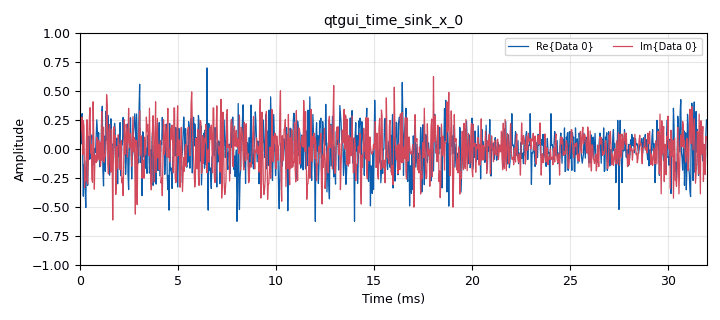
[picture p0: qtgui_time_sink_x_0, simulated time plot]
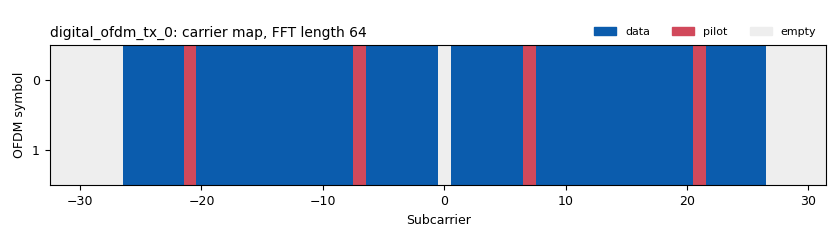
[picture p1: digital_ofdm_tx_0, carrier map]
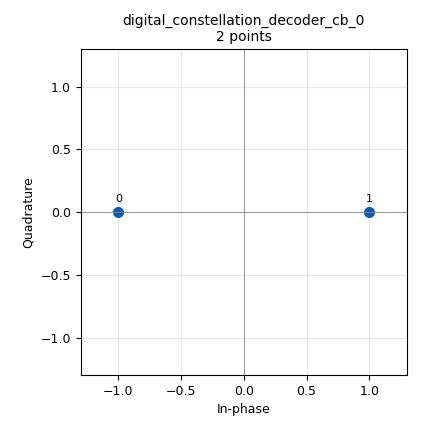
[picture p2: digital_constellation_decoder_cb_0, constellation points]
options:
  parameters:
    description: 'USRP OFDM sync TX/RX (RX chain aligned with rx_ofdm.grc). RF loopback via USRP ch0 TX / ch2 RX. QtGUI: tx/rx gain, spectrum, constellation.'
    generate_options: qt_gui
    id: base_ofdm
    output_language: python
    title: Base OFDM Sync TX/RX
  states: {}

blocks:
- name: RX_gain
  id: variable_qtgui_range
  parameters:
    gui_hint: 0,1,1,1
    label: rx_gain
    start: '0'
    step: '1'
    stop: '50'
    value: '10'
  states: {}
- name: TX_gain
  id: variable_qtgui_range
  parameters:
    gui_hint: 0,0,1,1
    label: tx_gain
    start: '0'
    step: '1'
    stop: '50'
    value: '10'
  states: {}
- name: cp_len
  id: variable
  parameters:
    comment: Cyclic prefix length (samples)
    value: fft_len//4
  states: {}
- name: factor
  id: variable_qtgui_range
  parameters:
    start: '0'
    step: '0.01'
    stop: '1'
    value: '0.02'
  states: {}
- name: fft_len
  id: variable
  parameters:
    value: '64'
  states: {}
- name: header_equalizer
  id: variable
  parameters:
    value: digital.ofdm_equalizer_simpledfe(fft_len, header_mod.base(), occupied_carriers, pilot_carriers, pilot_symbols)
  states: {}
- name: header_formatter
  id: variable
  parameters:
    value: digital.packet_header_ofdm(occupied_carriers, n_syms=1, len_tag_key=packet_length_tag_key, frame_len_tag_key=length_tag_key, bits_per_header_sym=header_mod.bits_per_symbol(), bits_per_payload_sym=payload_mod.bits_per_symbol(), scramble_header=False)
  states: {}
- name: header_len
  id: variable
  parameters:
    comment: 2 sync + 1 comm header OFDM symbols
    value: '3'
  states: {}
- name: header_mod
  id: variable
  parameters:
    value: digital.constellation_bpsk()
  states: {}
- name: length_tag_key
  id: variable
  parameters:
    value: '"frame_len"'
  states: {}
- name: occupied_carriers
  id: variable
  parameters:
    value: (list(range(-26, -21)) + list(range(-20, -7)) + list(range(-6, 0)) + list(range(1, 7)) + list(range(8, 21)) + list(range(22, 27)),)
  states: {}
- name: packet_len
  id: variable
  parameters:
    value: '96'
  states: {}
- name: packet_length_tag_key
  id: variable
  parameters:
    value: '"packet_len"'
  states: {}
- name: payload_equalizer
  id: variable
  parameters:
    value: digital.ofdm_equalizer_simpledfe(fft_len, payload_mod.base(), occupied_carriers, pilot_carriers, pilot_symbols, 1)
  states: {}
- name: payload_mod
  id: variable
  parameters:
    value: digital.constellation_qpsk()
  states: {}
- name: pilot_carriers
  id: variable
  parameters:
    value: ((-21, -7, 7, 21,),)
  states: {}
- name: pilot_symbols
  id: variable
  parameters:
    value: ((1, 1, 1, -1,),)
  states: {}
- name: rx_sync_min_buf
  id: variable
  parameters:
    comment: USRP high-rate RX sync chain buffer (rx_ofdm uses throttle, not needed there)
    value: max(65536, int((header_len + 8) * (fft_len + cp_len)))
  states: {}
- name: samp_rate
  id: variable
  parameters:
    comment: X410 MCR/1020 (~240941 Hz); must match USRP actual rate
    value: 32e3
  states: {}
- name: sync_word1
  id: variable
  parameters:
    value: '[0., 0., 0., 0., 0., 0., 0., 1.41421356, 0., -1.41421356, 0., 1.41421356, 0., -1.41421356, 0., -1.41421356, 0., -1.41421356, 0., 1.41421356, 0., -1.41421356, 0., 1.41421356, 0., -1.41421356, 0., -1.41421356, 0., -1.41421356, 0., -1.41421356, 0., 1.41421356, 0., -1.41421356, 0., 1.41421356, 0., 1.41421356, 0., 1.41421356, 0., -1.41421356, 0., 1.41421356, 0., 1.41421356, 0., 1.41421356, 0., -1.41421356, 0., 1.41421356, 0., 1.41421356, 0., 1.41421356, 0., 0., 0., 0., 0., 0.]'
  states: {}
- name: sync_word2
  id: variable
  parameters:
    value: '[0j, 0j, 0j, 0j, 0j, 0j, (-1+0j), (-1+0j), (-1+0j), (-1+0j), (1+0j), (1+0j), (-1+0j), (-1+0j), (-1+0j), (1+0j), (-1+0j), (1+0j), (1+0j), (1 +0j), (1+0j), (1+0j), (-1+0j), (-1+0j), (-1+0j), (-1+0j), (-1+0j), (1+0j), (-1+0j), (-1+0j), (1+0j), (-1+0j), 0j, (1+0j), (-1+0j), (1+0j), (1+0j), (1+0j), (-1+0j), (1+0j), (1+0j), (1+0j), (-1+0j), (1+0j), (1+0j), (1+0j), (1+0j), (-1+0j), (1+0j), (-1+0j), (-1+0j), (-1+0j), (1+0j), (-1+0j), (1+0j), (-1+0j), (-1+0j), (-1+0j), (-1+0j), 0j, 0j, 0j, 0j, 0j]'
  states: {}
- name: address
  id: parameter
  parameters:
    label: UHD dev args
    type: str
    value: '"type=x4xx,mgmt_addr=192.168.1.100,addr=192.168.10.2"'
  states: {}
- name: analog_frequency_modulator_fc_0
  id: analog_frequency_modulator_fc
  parameters:
    minoutbuf: rx_sync_min_buf
    sensitivity: '-2.0/fft_len'
  states: {}
- name: analog_random_source_x_0
  id: analog_random_source_x
  parameters:
    max: '255'
    min: '0'
    num_samps: '1000'
    repeat: 'True'
    type: byte
  states: {}
- name: blocks_delay_0
  id: blocks_delay
  parameters:
    delay: fft_len+fft_len//4
    minoutbuf: rx_sync_min_buf
    type: complex
  states: {}
- name: blocks_multiply_const_vxx_0
  id: blocks_multiply_const_vxx
  parameters:
    const: factor
    type: complex
  states: {}
- name: blocks_multiply_xx_0
  id: blocks_multiply_xx
  parameters:
    minoutbuf: rx_sync_min_buf
    type: complex
  states: {}
- name: blocks_null_sink_0
  id: blocks_null_sink
  parameters:
    type: complex
  states: {}
- name: blocks_repack_bits_bb_0
  id: blocks_repack_bits_bb
  parameters:
    align_output: 'True'
    endianness: gr.GR_LSB_FIRST
    k: payload_mod.bits_per_symbol()
    l: '8'
    len_tag_key: packet_length_tag_key
  states: {state: disabled}
- name: blocks_stream_to_tagged_stream_0
  id: blocks_stream_to_tagged_stream
  parameters:
    len_tag_key: packet_length_tag_key
    packet_len: packet_len
    type: byte
  states: {}
- name: blocks_tag_debug_1
  id: blocks_tag_debug
  parameters:
    name: Rx Bytes
    type: byte
  states: {state: disabled}
- name: digital_constellation_decoder_cb_0
  id: digital_constellation_decoder_cb
  parameters:
    constellation: header_mod.base()
  states: {}
- name: digital_constellation_decoder_cb_1
  id: digital_constellation_decoder_cb
  parameters:
    constellation: payload_mod.base()
  states: {state: disabled}
- name: digital_crc32_bb_0
  id: digital_crc32_bb
  parameters:
    check: 'True'
    lengthtagname: packet_length_tag_key
    packed: 'True'
  states: {state: disabled}
- name: digital_header_payload_demux_0
  id: digital_header_payload_demux
  parameters:
    guard_interval: fft_len//4
    header_len: header_len
    header_padding: '0'
    items_per_symbol: fft_len
    length_tag_key: length_tag_key
    minoutbuf: rx_sync_min_buf
    output_symbols: 'True'
    samp_rate: samp_rate
    special_tags: ()
    timing_tag_key: '"rx_time"'
    type: complex
  states: {}
- name: digital_ofdm_chanest_vcvc_0
  id: digital_ofdm_chanest_vcvc
  parameters:
    force_one_symbol: 'False'
    max_carr_offset: '3'
    n_data_symbols: '1'
    sync_symbol1: sync_word1
    sync_symbol2: sync_word2
  states: {}
- name: digital_ofdm_frame_equalizer_vcvc_0
  id: digital_ofdm_frame_equalizer_vcvc
  parameters:
    cp_len: cp_len
    equalizer: header_equalizer.base()
    fft_len: fft_len
    fixed_frame_len: '1'
    len_tag_key: length_tag_key
    propagate_channel_state: 'True'
  states: {}
- name: digital_ofdm_frame_equalizer_vcvc_1
  id: digital_ofdm_frame_equalizer_vcvc
  parameters:
    cp_len: fft_len//4
    equalizer: payload_equalizer.base()
    fft_len: fft_len
    len_tag_key: length_tag_key
    propagate_channel_state: 'True'
  states: {}
- name: digital_ofdm_serializer_vcc_header
  id: digital_ofdm_serializer_vcc
  parameters:
    carr_offset_key: ''
    comment: skip 2 sync OFDM syms; only comm header to parser
    fft_len: fft_len
    len_tag_key: length_tag_key
    occupied_carriers: occupied_carriers
    packet_len_tag_key: ''
  states: {}
- name: digital_ofdm_serializer_vcc_payload
  id: digital_ofdm_serializer_vcc
  parameters:
    carr_offset_key: ''
    fft_len: fft_len
    len_tag_key: length_tag_key
    occupied_carriers: occupied_carriers
    packet_len_tag_key: packet_length_tag_key
    symbols_skipped: '1'
  states: {}
- name: digital_ofdm_sync_sc_cfb_0
  id: digital_ofdm_sync_sc_cfb
  parameters:
    cp_len: fft_len//4
    fft_len: fft_len
    minoutbuf: rx_sync_min_buf
    threshold: '0.9'
  states: {}
- name: digital_ofdm_tx_0
  id: digital_ofdm_tx
  parameters:
    cp_len: cp_len
    fft_len: fft_len
    header_mod: '"BPSK"'
    log: 'True'
    occupied_carriers: occupied_carriers
    packet_len_key: packet_length_tag_key
    payload_mod: '"QPSK"'
    pilot_carriers: pilot_carriers
    pilot_symbols: pilot_symbols
    rolloff: '0'
    sync_word1: sync_word1
    sync_word2: sync_word2
  states: {}
- name: digital_packet_headerparser_b_0
  id: digital_packet_headerparser_b
  parameters:
    header_formatter: header_formatter.base()
  states: {}
- name: fft_vxx_0
  id: fft_vxx
  parameters:
    fft_size: fft_len
    forward: 'True'
    shift: 'True'
    type: complex
    window: ()
  states: {}
- name: fft_vxx_1
  id: fft_vxx
  parameters:
    fft_size: fft_len
    forward: 'True'
    shift: 'True'
    type: complex
    window: ()
  states: {}
- name: freq
  id: parameter
  parameters:
    label: Default Frequency
    short_id: f
    type: eng_float
    value: 6.0e9
  states: {}
- name: qtgui_const_sink_x_0
  id: qtgui_const_sink_x
  parameters:
    name: '"Header BPSK"'
    size: '1024'
    type: complex
  states: {}
- name: qtgui_const_sink_x_1
  id: qtgui_const_sink_x
  parameters:
    name: '"Payload QPSK"'
    size: '1024'
    type: complex
  states: {}
- name: qtgui_freq_sink_x_0
  id: qtgui_freq_sink_x
  parameters:
    bw: samp_rate
    fc: '0'
    fftsize: '1024'
    nconnections: '2'
    type: complex
  states: {}
- name: qtgui_time_sink_x_0
  id: qtgui_time_sink_x
  parameters:
    size: '1024'
    srate: samp_rate
    type: complex
  states: {}
- name: uhd_usrp_sink_0_0
  id: uhd_usrp_sink
  parameters:
    ant0: '"TX/RX"'
    center_freq0: freq
    clock_rate: '0'
    dev_addr: address
    dev_args: '""'
    gain0: TX_gain
    len_tag_name: ''
    samp_rate: samp_rate
    stream_args: num_send_frames=512,send_buff_size=25000000
    stream_chans: '[0]'
    sync: pc_clock
    type: fc32
  states: {}
- name: uhd_usrp_source_0_0
  id: uhd_usrp_source
  parameters:
    ant0: '"RX1"'
    center_freq0: freq
    clock_rate: '0'
    dev_addr: address
    dev_args: '""'
    gain0: RX_gain
    minoutbuf: '262144'
    samp_rate: samp_rate
    stream_args: num_recv_frames=512,recv_buff_size=25000000
    stream_chans: '[0]'
    sync: pc_clock
    type: fc32
  states: {}

connections:
- [analog_frequency_modulator_fc_0, '0', blocks_multiply_xx_0, '0']
- [analog_random_source_x_0, '0', blocks_stream_to_tagged_stream_0, '0']
- [blocks_delay_0, '0', blocks_multiply_xx_0, '1']
- [blocks_multiply_const_vxx_0, '0', qtgui_freq_sink_x_0, '0']
- [blocks_multiply_const_vxx_0, '0', qtgui_time_sink_x_0, '0']
- [blocks_multiply_const_vxx_0, '0', uhd_usrp_sink_0_0, '0']
- [blocks_multiply_xx_0, '0', digital_header_payload_demux_0, '0']
- [blocks_repack_bits_bb_0, '0', digital_crc32_bb_0, '0']
- [blocks_stream_to_tagged_stream_0, '0', digital_ofdm_tx_0, '0']
- [digital_constellation_decoder_cb_0, '0', digital_packet_headerparser_b_0, '0']
- [digital_constellation_decoder_cb_1, '0', blocks_repack_bits_bb_0, '0']
- [digital_crc32_bb_0, '0', blocks_tag_debug_1, '0']
- [digital_header_payload_demux_0, '0', fft_vxx_0, '0']
- [digital_header_payload_demux_0, '1', fft_vxx_1, '0']
- [digital_ofdm_chanest_vcvc_0, '0', digital_ofdm_frame_equalizer_vcvc_0, '0']
- [digital_ofdm_frame_equalizer_vcvc_0, '0', digital_ofdm_serializer_vcc_header, '0']
- [digital_ofdm_frame_equalizer_vcvc_1, '0', digital_ofdm_serializer_vcc_payload, '0']
- [digital_ofdm_serializer_vcc_header, '0', digital_constellation_decoder_cb_0, '0']
- [digital_ofdm_serializer_vcc_header, '0', qtgui_const_sink_x_0, '0']
- [digital_ofdm_serializer_vcc_payload, '0', blocks_null_sink_0, '0']
- [digital_ofdm_serializer_vcc_payload, '0', digital_constellation_decoder_cb_1, '0']
- [digital_ofdm_serializer_vcc_payload, '0', qtgui_const_sink_x_1, '0']
- [digital_ofdm_sync_sc_cfb_0, '0', analog_frequency_modulator_fc_0, '0']
- [digital_ofdm_sync_sc_cfb_0, '1', digital_header_payload_demux_0, '1']
- [digital_ofdm_tx_0, '0', blocks_multiply_const_vxx_0, '0']
- [digital_packet_headerparser_b_0, header_data, digital_header_payload_demux_0, header_data]
- [fft_vxx_0, '0', digital_ofdm_chanest_vcvc_0, '0']
- [fft_vxx_1, '0', digital_ofdm_frame_equalizer_vcvc_1, '0']
- [uhd_usrp_source_0_0, '0', blocks_delay_0, '0']
- [uhd_usrp_source_0_0, '0', digital_ofdm_sync_sc_cfb_0, '0']
- [uhd_usrp_source_0_0, '0', qtgui_freq_sink_x_0, '1']

metadata:
  file_format: 1
  grc_version: 3.10.12.0
